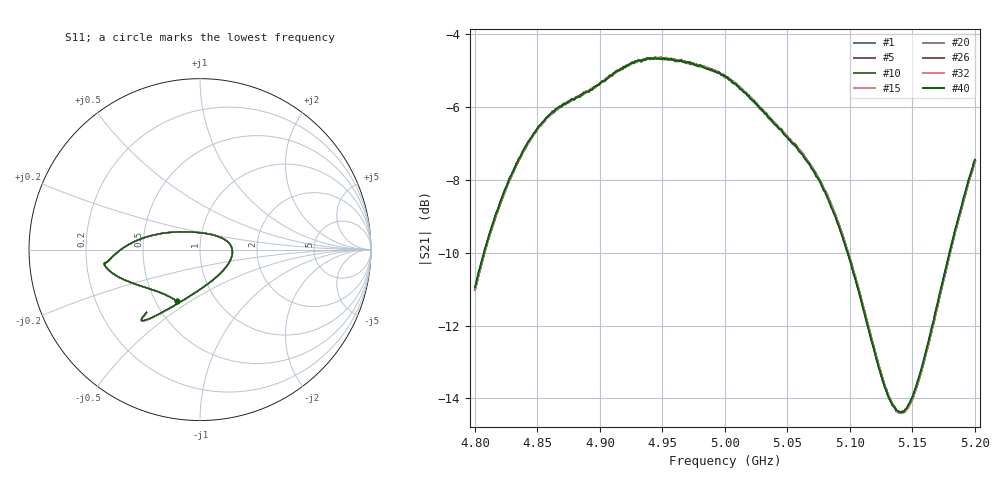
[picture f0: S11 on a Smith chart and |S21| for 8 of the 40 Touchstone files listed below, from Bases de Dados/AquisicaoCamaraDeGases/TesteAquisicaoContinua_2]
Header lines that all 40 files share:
! Network Analyzer HP8722D
! Hewlett-Packard
! Data name: Linha & Wilkinson
! Saver's name: Rodrigo Anjos
! Comments: Teste da utilização de aquisição
! continua pelo VNA HP8722D
!  Frequency  S11  S21  S12  S22
# HZ  S  MA R 50
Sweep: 4.8 GHz to 5.2 GHz
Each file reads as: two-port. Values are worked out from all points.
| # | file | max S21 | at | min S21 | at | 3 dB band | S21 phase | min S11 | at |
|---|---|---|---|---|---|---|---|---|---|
| 1 | teste_arseco&borbulhador_40RH_0.S2P | -4.64 dB | 4.944 GHz | -14.4 dB | 5.141 GHz | 4.833 GHz-5.069 GHz | -111 deg at 5 GHz | -20.2 dB | 5.007 GHz |
| 2 | teste_arseco&borbulhador_40RH_1.S2P | -4.65 dB | 4.945 GHz | -14.4 dB | 5.141 GHz | 4.833 GHz-5.068 GHz | -111 deg at 5 GHz | -20.2 dB | 5.007 GHz |
| 3 | teste_arseco&borbulhador_40RH_2.S2P | -4.63 dB | 4.946 GHz | -14.4 dB | 5.141 GHz | 4.833 GHz-5.069 GHz | -111 deg at 5 GHz | -20.2 dB | 5.007 GHz |
| 4 | teste_arseco&borbulhador_40RH_3.S2P | -4.64 dB | 4.939 GHz | -14.4 dB | 5.141 GHz | 4.833 GHz-5.069 GHz | -111 deg at 5 GHz | -20.1 dB | 5.007 GHz |
| 5 | teste_arseco&borbulhador_40RH_4.S2P | -4.64 dB | 4.944 GHz | -14.4 dB | 5.143 GHz | 4.833 GHz-5.069 GHz | -111 deg at 5 GHz | -20.2 dB | 5.007 GHz |
| 6 | teste_arseco&borbulhador_40RH_5.S2P | -4.64 dB | 4.939 GHz | -14.4 dB | 5.141 GHz | 4.833 GHz-5.069 GHz | -111 deg at 5 GHz | -20.1 dB | 5.007 GHz |
| 7 | teste_arseco&borbulhador_40RH_6.S2P | -4.64 dB | 4.946 GHz | -14.4 dB | 5.143 GHz | 4.833 GHz-5.069 GHz | -111 deg at 5 GHz | -20.1 dB | 5.007 GHz |
| 8 | teste_arseco&borbulhador_40RH_7.S2P | -4.64 dB | 4.949 GHz | -14.4 dB | 5.141 GHz | 4.833 GHz-5.069 GHz | -111 deg at 5 GHz | -20.1 dB | 5.007 GHz |
| 9 | teste_arseco&borbulhador_40RH_8.S2P | -4.63 dB | 4.943 GHz | -14.4 dB | 5.141 GHz | 4.833 GHz-5.068 GHz | -111 deg at 5 GHz | -20.1 dB | 5.007 GHz |
| 10 | teste_arseco&borbulhador_40RH_9.S2P | -4.63 dB | 4.944 GHz | -14.4 dB | 5.141 GHz | 4.833 GHz-5.068 GHz | -111 deg at 5 GHz | -20.1 dB | 5.008 GHz |
| 11 | teste_arseco&borbulhador_40RH_10.S2P | -4.62 dB | 4.944 GHz | -14.4 dB | 5.141 GHz | 4.833 GHz-5.068 GHz | -111 deg at 5 GHz | -20.1 dB | 5.007 GHz |
| 12 | teste_arseco&borbulhador_40RH_11.S2P | -4.64 dB | 4.949 GHz | -14.4 dB | 5.141 GHz | 4.833 GHz-5.069 GHz | -111 deg at 5 GHz | -20.1 dB | 5.007 GHz |
| 13 | teste_arseco&borbulhador_40RH_12.S2P | -4.64 dB | 4.949 GHz | -14.4 dB | 5.141 GHz | 4.833 GHz-5.069 GHz | -111 deg at 5 GHz | -20.2 dB | 5.007 GHz |
| 14 | teste_arseco&borbulhador_40RH_13.S2P | -4.64 dB | 4.949 GHz | -14.4 dB | 5.142 GHz | 4.833 GHz-5.069 GHz | -111 deg at 5 GHz | -20.1 dB | 5.007 GHz |
| 15 | teste_arseco&borbulhador_40RH_14.S2P | -4.63 dB | 4.949 GHz | -14.4 dB | 5.141 GHz | 4.833 GHz-5.069 GHz | -111 deg at 5 GHz | -20.2 dB | 5.007 GHz |
| 16 | teste_arseco&borbulhador_40RH_15.S2P | -4.63 dB | 4.944 GHz | -14.4 dB | 5.141 GHz | 4.833 GHz-5.069 GHz | -111 deg at 5 GHz | -20.1 dB | 5.007 GHz |
| 17 | teste_arseco&borbulhador_40RH_16.S2P | -4.64 dB | 4.946 GHz | -14.4 dB | 5.141 GHz | 4.833 GHz-5.068 GHz | -111 deg at 5 GHz | -20.1 dB | 5.007 GHz |
| 18 | teste_arseco&borbulhador_40RH_17.S2P | -4.62 dB | 4.944 GHz | -14.4 dB | 5.141 GHz | 4.833 GHz-5.068 GHz | -111 deg at 5 GHz | -20.1 dB | 5.007 GHz |
| 19 | teste_arseco&borbulhador_40RH_18.S2P | -4.64 dB | 4.944 GHz | -14.4 dB | 5.141 GHz | 4.833 GHz-5.069 GHz | -111 deg at 5 GHz | -20.1 dB | 5.007 GHz |
| 20 | teste_arseco&borbulhador_40RH_19.S2P | -4.65 dB | 4.942 GHz | -14.4 dB | 5.141 GHz | 4.833 GHz-5.069 GHz | -111 deg at 5 GHz | -20.1 dB | 5.007 GHz |
| 21 | teste_arseco&borbulhador_40RH_20.S2P | -4.63 dB | 4.944 GHz | -14.4 dB | 5.141 GHz | 4.833 GHz-5.069 GHz | -111 deg at 5 GHz | -20.1 dB | 5.007 GHz |
| 22 | teste_arseco&borbulhador_40RH_21.S2P | -4.63 dB | 4.944 GHz | -14.4 dB | 5.141 GHz | 4.833 GHz-5.068 GHz | -111 deg at 5 GHz | -20.1 dB | 5.007 GHz |
| 23 | teste_arseco&borbulhador_40RH_22.S2P | -4.63 dB | 4.941 GHz | -14.4 dB | 5.141 GHz | 4.833 GHz-5.069 GHz | -111 deg at 5 GHz | -20.1 dB | 5.007 GHz |
| 24 | teste_arseco&borbulhador_40RH_23.S2P | -4.63 dB | 4.949 GHz | -14.4 dB | 5.141 GHz | 4.833 GHz-5.069 GHz | -111 deg at 5 GHz | -20.1 dB | 5.007 GHz |
| 25 | teste_arseco&borbulhador_40RH_24.S2P | -4.64 dB | 4.944 GHz | -14.4 dB | 5.141 GHz | 4.833 GHz-5.069 GHz | -111 deg at 5 GHz | -20.1 dB | 5.007 GHz |
| 26 | teste_arseco&borbulhador_40RH_25.S2P | -4.63 dB | 4.949 GHz | -14.4 dB | 5.139 GHz | 4.833 GHz-5.069 GHz | -111 deg at 5 GHz | -20.1 dB | 5.008 GHz |
| 27 | teste_arseco&borbulhador_40RH_26.S2P | -4.63 dB | 4.946 GHz | -14.4 dB | 5.14 GHz | 4.833 GHz-5.068 GHz | -111 deg at 5 GHz | -20.1 dB | 5.007 GHz |
| 28 | teste_arseco&borbulhador_40RH_27.S2P | -4.64 dB | 4.948 GHz | -14.4 dB | 5.141 GHz | 4.833 GHz-5.069 GHz | -111 deg at 5 GHz | -20.2 dB | 5.007 GHz |
| 29 | teste_arseco&borbulhador_40RH_28.S2P | -4.63 dB | 4.948 GHz | -14.4 dB | 5.14 GHz | 4.833 GHz-5.068 GHz | -111 deg at 5 GHz | -20.1 dB | 5.007 GHz |
| 30 | teste_arseco&borbulhador_40RH_29.S2P | -4.64 dB | 4.944 GHz | -14.4 dB | 5.141 GHz | 4.833 GHz-5.069 GHz | -111 deg at 5 GHz | -20.2 dB | 5.007 GHz |
| 31 | teste_arseco&borbulhador_40RH_30.S2P | -4.63 dB | 4.944 GHz | -14.4 dB | 5.141 GHz | 4.833 GHz-5.069 GHz | -111 deg at 5 GHz | -20.1 dB | 5.007 GHz |
| 32 | teste_arseco&borbulhador_40RH_31.S2P | -4.64 dB | 4.953 GHz | -14.4 dB | 5.141 GHz | 4.833 GHz-5.069 GHz | -111 deg at 5 GHz | -20.1 dB | 5.007 GHz |
| 33 | teste_arseco&borbulhador_40RH_32.S2P | -4.64 dB | 4.939 GHz | -14.4 dB | 5.141 GHz | 4.833 GHz-5.069 GHz | -111 deg at 5 GHz | -20.1 dB | 5.007 GHz |
| 34 | teste_arseco&borbulhador_40RH_33.S2P | -4.63 dB | 4.939 GHz | -14.4 dB | 5.141 GHz | 4.833 GHz-5.069 GHz | -111 deg at 5 GHz | -20.1 dB | 5.007 GHz |
| 35 | teste_arseco&borbulhador_40RH_34.S2P | -4.64 dB | 4.944 GHz | -14.4 dB | 5.141 GHz | 4.833 GHz-5.069 GHz | -111 deg at 5 GHz | -20.1 dB | 5.007 GHz |
| 36 | teste_arseco&borbulhador_40RH_35.S2P | -4.63 dB | 4.944 GHz | -14.4 dB | 5.141 GHz | 4.833 GHz-5.069 GHz | -111 deg at 5 GHz | -20.1 dB | 5.007 GHz |
| 37 | teste_arseco&borbulhador_40RH_36.S2P | -4.64 dB | 4.949 GHz | -14.4 dB | 5.141 GHz | 4.832 GHz-5.069 GHz | -111 deg at 5 GHz | -20.1 dB | 5.008 GHz |
| 38 | teste_arseco&borbulhador_40RH_37.S2P | -4.64 dB | 4.944 GHz | -14.4 dB | 5.141 GHz | 4.833 GHz-5.068 GHz | -111 deg at 5 GHz | -20.2 dB | 5.007 GHz |
| 39 | teste_arseco&borbulhador_40RH_38.S2P | -4.63 dB | 4.944 GHz | -14.4 dB | 5.141 GHz | 4.833 GHz-5.068 GHz | -111 deg at 5 GHz | -20.2 dB | 5.007 GHz |
| 40 | teste_arseco&borbulhador_40RH_39.S2P | -4.64 dB | 4.944 GHz | -14.4 dB | 5.141 GHz | 4.832 GHz-5.068 GHz | -111 deg at 5 GHz | -20.2 dB | 5.008 GHz |
